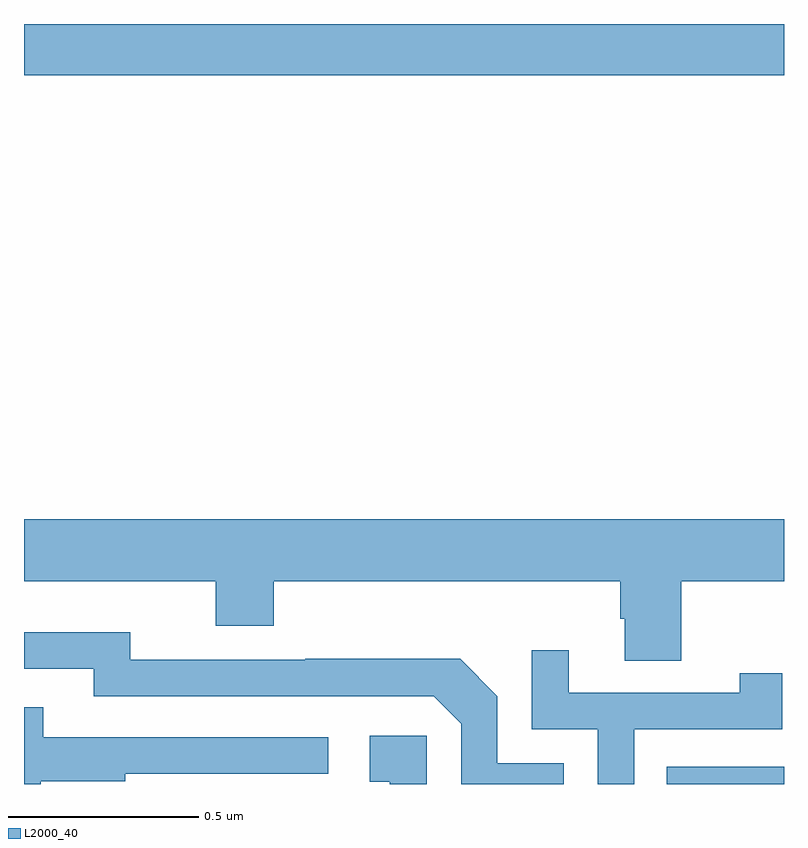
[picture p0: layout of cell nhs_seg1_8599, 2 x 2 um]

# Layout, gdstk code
import gdstk
lib = gdstk.Library(unit=1e-6, precision=1e-09)
def R(c, l, rs):  # rectangles x0, y0, x1, y1
    for r in rs: c.add(gdstk.rectangle(r[:2], r[2:], *l))
def P(c, l, *ps):  # polygons
    for p in ps: c.add(gdstk.Polygon(p, *l))
L2000_40 = (2000, 40)

nhs_seg1_8599 = lib.new_cell('nhs_seg1_8599')
R(nhs_seg1_8599, L2000_40, [(219.691,551.199,220,551.244), (218,553.064,220,553.199)])
P(nhs_seg1_8599, L2000_40, [(219.729,551.732),(220,551.732),(220,551.896),(218,551.896),(218,551.732),(218.504,551.732),(218.504,551.615),(218.657,551.615),(218.657,551.732),(219.569,551.732),(219.569,551.634),(219.581,551.634),(219.581,551.524),(219.729,551.524)],
  [(219.42,551.253),(219.246,551.253),(219.246,551.43),(219.148,551.528),(218.74,551.528),(218.74,551.526),(218.28,551.526),(218.28,551.599),(218,551.599),(218,551.502),(218.184,551.502),(218.184,551.43),(219.078,551.43),(219.15,551.358),(219.15,551.199),(219.42,551.199)],
  [(219.606,551.343),(219.995,551.343),(219.995,551.491),(219.884,551.491),(219.884,551.439),(219.433,551.439),(219.433,551.551),(219.336,551.551),(219.336,551.343),(219.51,551.343),(219.51,551.199),(219.606,551.199)],
  [(218.044,551.206),(218.267,551.206),(218.267,551.226),(218.8,551.226),(218.8,551.322),(218.051,551.322),(218.051,551.401),(218,551.401),(218,551.199),(218.044,551.199)],
  [(219.06,551.326),(218.91,551.326),(218.91,551.205),(218.963,551.205),(218.963,551.199),(219.06,551.199)])

lib.write_gds('nhs_seg1_8599.gds')
